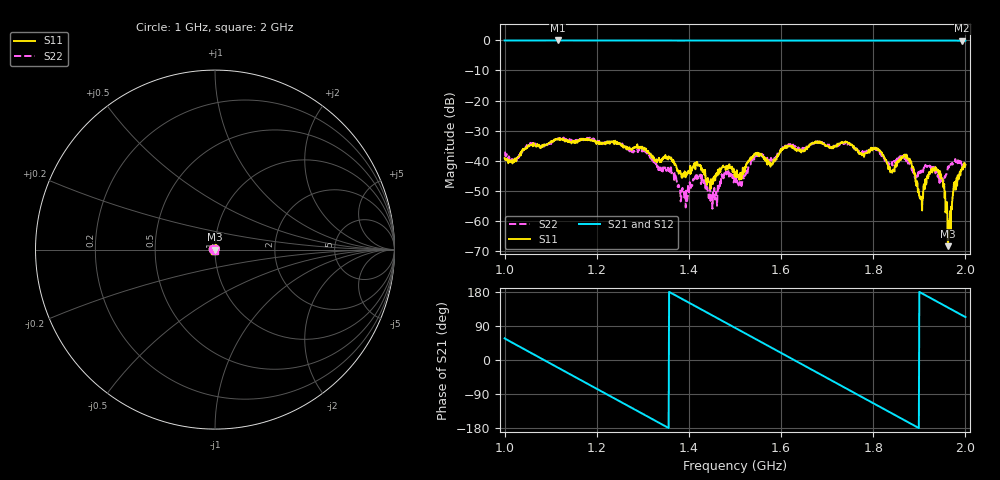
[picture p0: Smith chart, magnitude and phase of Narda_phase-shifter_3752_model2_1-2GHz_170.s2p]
#  HZ  S  DB  R  50.00
! Rohde & Schwarz Vector Network Analyzer
! Rohde-Schwarz,ZNB8-4Port,1311601044102961,2.82
! Created: UTC 1/17/2019, 2:35:01 PM
! freq[Hz]  db:S11  ang:S11  db:S21  ang:S21  db:S12  ang:S12  db:S22  ang:S22
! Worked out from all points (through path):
!   1001 points, 1 GHz to 2 GHz, reference 50 ohm
!   highest |S21| = -0.08 dB at 1.115 GHz (marker M1); lowest = -0.2 dB at 1.993 GHz (marker M2)
!   group delay of S21, straight-line fit = 1.84 ns
!   lowest |S11| = -68.3 dB at 1.962 GHz (marker M3), VSWR 1.00, Z = 50 - j0.0274 ohm
!   |S11| at or under -10 dB: start of sweep to end of sweep
!   |S22| runs from -55.9 to -32.3 dB; largest |S21 - S12| = 0.011
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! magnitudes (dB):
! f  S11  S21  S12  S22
! 1 GHz  -39.2  -0.1  -0.1  -37.3
! 1.115 GHz  -32.9  -0.1  -0.1  -32.6
! 1.167 GHz  -33.1  -0.1  -0.1  -32.9
! 1.302 GHz  -36.4  -0.1  -0.1  -36.9
! 1.334 GHz  -39.6  -0.1  -0.1  -43.1
! 1.392 GHz  -44.8  -0.1  -0.1  -49.7
! 1.42 GHz  -41.3  -0.1  -0.1  -45.2
! 1.448 GHz  -46.1  -0.1  -0.1  -51.5
! 1.475 GHz  -41.9  -0.1  -0.1  -45.8
! 1.5 GHz  -44.3  -0.1  -0.1  -45.9
! 1.548 GHz  -38.0  -0.1  -0.1  -38.5
! 1.578 GHz  -41.0  -0.1  -0.1  -39.0
! 1.667 GHz  -34.3  -0.1  -0.1  -34.5
! 1.807 GHz  -35.8  -0.1  -0.1  -36.4
! 1.834 GHz  -42.4  -0.1  -0.1  -41.5
! 1.874 GHz  -39.3  -0.1  -0.1  -39.4
! 1.903 GHz  -51.9  -0.1  -0.1  -44.0
! 1.94 GHz  -43.4  -0.1  -0.1  -44.7
! 1.951 GHz  -46.4  -0.1  -0.2  -46.6
! 1.962 GHz  -68.3  -0.1  -0.2  -41.9
! 1.993 GHz  -42.6  -0.2  -0.2  -41.7
! 2 GHz  -41.3  -0.2  -0.2  -42.1
